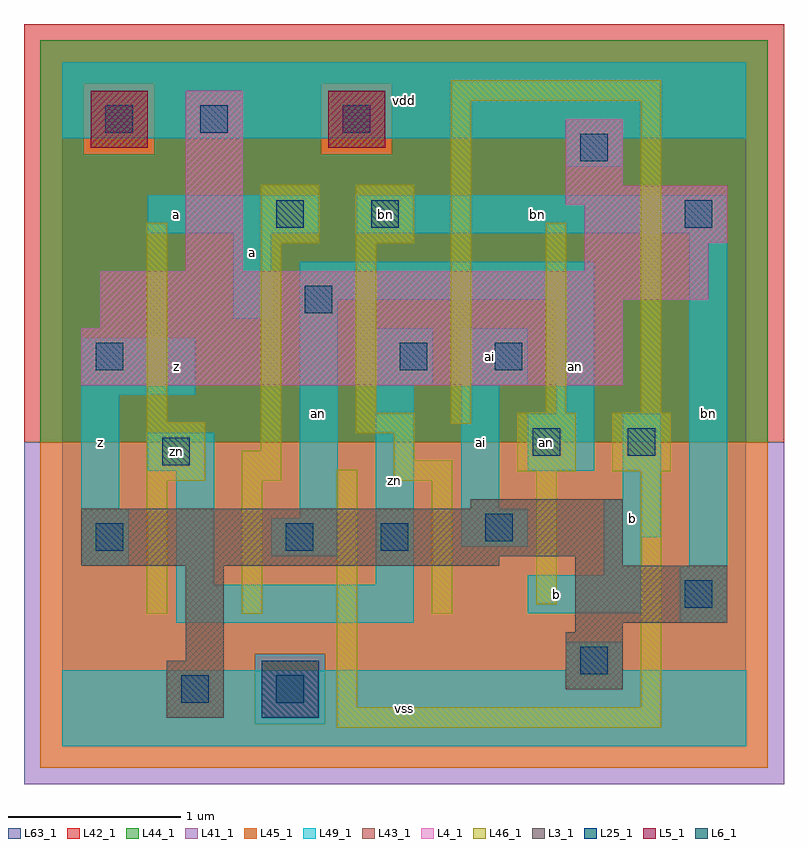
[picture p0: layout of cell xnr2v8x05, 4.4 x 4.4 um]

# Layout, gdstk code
import gdstk
lib = gdstk.Library(unit=1e-6, precision=1e-09)
def R(c, l, rs):  # rectangles x0, y0, x1, y1
    for r in rs: c.add(gdstk.rectangle(r[:2], r[2:], *l))
L3_1 = (3, 1)
L4_1 = (4, 1)
L5_1 = (5, 1)
L6_1 = (6, 1)
L25_1 = (25, 1)
L41_1 = (41, 1)
L42_1 = (42, 1)
L43_1 = (43, 1)
L44_1 = (44, 1)
L45_1 = (45, 1)
L46_1 = (46, 1)
L49_1 = (49, 1)
L63_1 = (63, 1)

xnr2v8x05 = lib.new_cell('xnr2v8x05')
R(xnr2v8x05, L3_1, [(0.605,0.165,0.935,0.495), (2.915,0.33,3.245,0.66), (0.715,0.495,0.935,1.045), (2.97,0.66,3.245,0.715), (2.97,0.715,3.85,1.045), (0.11,1.045,2.53,1.1), (2.97,1.045,3.245,1.1), (0.11,1.1,3.245,1.375), (2.365,1.375,3.245,1.43)])
R(xnr2v8x05, L4_1, [(0.11,2.09,3.245,2.42), (0.22,2.42,3.245,2.585), (0.22,2.585,3.74,2.75), (0.715,2.75,1.045,3.795), (3.025,2.75,3.74,2.915), (3.025,2.915,3.85,3.135), (2.915,3.135,3.85,3.245), (2.915,3.245,3.245,3.63)])
R(xnr2v8x05, L5_1, [(0.165,3.465,0.495,3.795), (1.54,3.465,1.87,3.795)])
R(xnr2v8x05, L6_1, [(1.155,0.165,1.485,0.495)])
R(xnr2v8x05, L25_1, [(0.69,0.25,0.85,0.41), (1.24,0.25,1.4,0.41), (3,0.415,3.16,0.575), (3.605,0.8,3.765,0.96), (0.195,1.13,0.355,1.29), (1.295,1.13,1.455,1.29), (1.845,1.13,2.005,1.29), (2.45,1.185,2.61,1.345), (0.58,1.625,0.74,1.785), (2.725,1.68,2.885,1.84), (3.275,1.68,3.435,1.84), (0.195,2.175,0.355,2.335), (1.955,2.175,2.115,2.335), (2.505,2.175,2.665,2.335), (1.405,2.505,1.565,2.665), (1.24,3,1.4,3.16), (1.79,3,1.95,3.16), (3.605,3,3.765,3.16), (3,3.385,3.16,3.545), (0.25,3.55,0.41,3.71), (0.8,3.55,0.96,3.71), (1.625,3.55,1.785,3.71)])
R(xnr2v8x05, L41_1, [(-0.22,-0.22,4.18,1.76)])
R(xnr2v8x05, L42_1, [(-0.22,1.76,4.18,4.18)])
R(xnr2v8x05, L43_1, [(0.605,0.165,0.935,0.495), (1.155,0.165,1.485,0.495), (2.915,0.33,3.245,0.66), (0.715,0.495,0.935,1.045), (2.97,0.66,3.245,0.715), (2.97,0.715,3.85,1.045), (0.11,1.045,2.53,1.1), (2.97,1.045,3.245,1.1), (0.11,1.1,3.245,1.375), (2.365,1.375,3.245,1.43), (0.11,2.09,3.245,2.42), (0.22,2.42,3.245,2.585), (0.22,2.585,3.74,2.75), (0.715,2.75,1.045,3.795), (3.025,2.75,3.74,2.915), (3.025,2.915,3.85,3.135), (2.915,3.135,3.85,3.245), (2.915,3.245,3.245,3.63), (0.165,3.465,0.495,3.795), (1.54,3.465,1.87,3.795)])
R(xnr2v8x05, L44_1, [(1.115,0.125,1.525,0.535), (-0.125,1.76,4.085,3.425), (-0.125,3.425,0.125,3.835), (0.535,3.425,1.5,3.835), (1.91,3.425,4.085,3.835), (-0.125,3.835,4.085,4.085)])
R(xnr2v8x05, L45_1, [(-0.125,-0.125,4.085,0.125), (-0.125,0.125,1.115,0.535), (1.525,0.125,4.085,0.535), (-0.125,0.535,4.085,1.76), (0.125,3.425,0.535,3.835), (1.5,3.425,1.91,3.835)])
R(xnr2v8x05, L46_1, [(1.59,0.105,3.47,0.225), (1.59,0.225,1.71,1.6), (3.35,0.225,3.47,1.59), (0.49,0.765,0.61,1.535), (1.04,0.765,1.16,1.535), (2.14,0.765,2.26,1.535), (2.745,0.82,2.865,1.59), (0.49,1.535,0.83,1.875), (1.04,1.535,1.27,1.71), (1.92,1.535,2.26,1.655), (2.635,1.59,2.975,1.93), (3.185,1.59,3.525,1.93), (1.92,1.655,2.04,1.81), (1.15,1.71,1.27,2.91), (1.7,1.81,2.04,1.93), (2.25,1.865,2.37,3.735), (0.49,1.875,0.61,3.03), (1.7,1.93,1.82,2.91), (2.8,1.93,2.92,3.03), (3.35,1.93,3.47,3.735), (1.15,2.91,1.49,3.25), (1.7,2.91,2.04,3.25), (2.25,3.735,3.47,3.855)])
R(xnr2v8x05, L49_1, [(0,0,3.96,0.44), (2.915,0.44,3.245,0.605), (0.66,0.715,2.035,0.935), (3.575,0.715,3.85,1.045), (2.695,0.77,3.355,0.99), (0.66,0.935,0.88,1.595), (1.815,0.935,2.035,2.09), (3.135,0.99,3.355,1.21), (0.11,1.045,0.385,1.375), (3.63,1.045,3.85,2.97), (1.21,1.1,1.595,1.32), (2.31,1.155,2.695,1.375), (3.135,1.21,3.465,1.43), (1.375,1.32,1.595,2.585), (0.11,1.375,0.33,2.035), (2.31,1.375,2.53,2.09), (3.245,1.43,3.465,1.925), (0.495,1.595,0.88,1.815), (2.695,1.595,3.08,1.925), (2.86,1.925,3.08,2.585), (0.11,2.035,0.77,2.365), (1.815,2.09,2.145,2.42), (2.31,2.09,2.695,2.42), (0.99,2.475,1.21,2.97), (1.375,2.585,3.08,2.805), (0.495,2.97,1.485,3.19), (1.705,2.97,3.85,3.19), (2.915,3.355,3.245,3.52), (0,3.52,3.96,3.96)])
R(xnr2v8x05, L63_1, [(0,0,3.96,3.96)])
xnr2v8x05.add(gdstk.Label('zn', (0.66,1.705), layer=49, texttype=1))
xnr2v8x05.add(gdstk.Label('bn', (1.87,3.08), layer=49, texttype=1))
xnr2v8x05.add(gdstk.Label('an', (2.805,1.76), layer=49, texttype=1))
xnr2v8x05.add(gdstk.Label('zn', (0.66,1.705), layer=49, texttype=1))
xnr2v8x05.add(gdstk.Label('z', (0.22,1.76), layer=49, texttype=1))
xnr2v8x05.add(gdstk.Label('z', (0.66,2.2), layer=49, texttype=1))
xnr2v8x05.add(gdstk.Label('a', (0.66,3.08), layer=49, texttype=1))
xnr2v8x05.add(gdstk.Label('an', (1.485,1.925), layer=49, texttype=1))
xnr2v8x05.add(gdstk.Label('a', (1.1,2.86), layer=49, texttype=1))
xnr2v8x05.add(gdstk.Label('vss', (1.98,0.22), layer=49, texttype=1))
xnr2v8x05.add(gdstk.Label('b', (2.86,0.88), layer=49, texttype=1))
xnr2v8x05.add(gdstk.Label('ai', (2.475,2.255), layer=49, texttype=1))
xnr2v8x05.add(gdstk.Label('ai', (2.42,1.76), layer=49, texttype=1))
xnr2v8x05.add(gdstk.Label('zn', (1.925,1.54), layer=49, texttype=1))
xnr2v8x05.add(gdstk.Label('vdd', (1.98,3.74), layer=49, texttype=1))
xnr2v8x05.add(gdstk.Label('b', (3.3,1.32), layer=49, texttype=1))
xnr2v8x05.add(gdstk.Label('an', (2.97,2.2), layer=49, texttype=1))
xnr2v8x05.add(gdstk.Label('bn', (2.75,3.08), layer=49, texttype=1))
xnr2v8x05.add(gdstk.Label('bn', (3.74,1.925), layer=49, texttype=1))

lib.write_gds('xnr2v8x05.gds')
